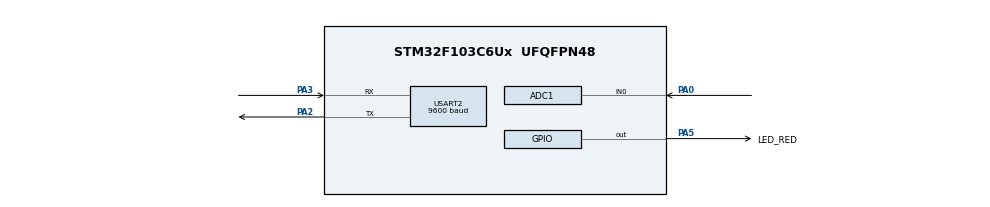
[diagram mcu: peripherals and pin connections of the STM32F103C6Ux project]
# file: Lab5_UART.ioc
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ADC1.Channel-0\#ChannelRegularConversion=ADC_CHANNEL_0
ADC1.ContinuousConvMode=ENABLE
ADC1.NbrOfConversionFlag=1
ADC1.Rank-0\#ChannelRegularConversion=1
ADC1.SamplingTime-0\#ChannelRegularConversion=ADC_SAMPLETIME_1CYCLE_5
ADC1.master=1
Mcu.Family=STM32F1
Mcu.Name=STM32F103C6Ux
Mcu.Package=UFQFPN48
NVIC.PriorityGroup=NVIC_PRIORITYGROUP_4
NVIC.TIM2_IRQn=true\:0\:0\:false\:false\:true\:true\:true\:true
NVIC.USART2_IRQn=true\:0\:0\:false\:false\:true\:true\:true\:true
PA0-WKUP.Signal=ADCx_IN0
PA2.Mode=Asynchronous
PA2.Signal=USART2_TX
PA3.Mode=Asynchronous
PA3.Signal=USART2_RX
PA5.GPIO_Label=LED_RED
PA5.Signal=GPIO_Output
ProjectManager.HeapSize=0x200
ProjectManager.StackSize=0x400
ProjectManager.TargetToolchain=Makefile
RCC.APB1Freq_Value=8000000
RCC.APB2Freq_Value=8000000
SH.ADCx_IN0.0=ADC1_IN0,IN0
TIM2.Period=9
TIM2.Prescaler=7999
USART2.BaudRate=9600
USART2.VirtualMode=VM_ASYNC
VP_SYS_VS_ND.Mode=No_Debug
VP_TIM2_VS_ClockSourceINT.Mode=Internal
board=custom

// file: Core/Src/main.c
/* USER CODE BEGIN Header */
/**
  ******************************************************************************
  * @file           : main.c
  * @brief          : Main program body
  ******************************************************************************
  * @attention
  *
  * Copyright (c) 2026 STMicroelectronics.
  * All rights reserved.
  *
  * This software is licensed under terms that can be found in the LICENSE file
  * in the root directory of this software component.
  * If no LICENSE file comes with this software, it is provided AS-IS.
  *
  ******************************************************************************
  */
/* USER CODE END Header */
#include "main.h"

/* USER CODE BEGIN Includes */
#include "command_parser.h"
#include "uart_communication.h"
#if LAB5_MODE == LAB5_MODE_ADC
#include <stdio.h>
#endif
/* USER CODE END Includes */

ADC_HandleTypeDef hadc1;

TIM_HandleTypeDef htim2;

UART_HandleTypeDef huart2;

/* USER CODE BEGIN PV */
static uint8_t uart_rx_byte;
static volatile uint8_t rx_buffer[MAX_BUFFER_SIZE];
static volatile uint8_t rx_write;
static volatile uint8_t rx_read;
static volatile uint8_t rx_fault;
static uint32_t led_tick;
/* USER CODE END PV */

void SystemClock_Config(void);
static void MX_GPIO_Init(void);
static void MX_TIM2_Init(void);
static void MX_ADC1_Init(void);
static void MX_USART2_UART_Init(void);

/* USER CODE BEGIN 0 */

/* Return -1 after lost data, 0 when empty, or 1 for a received byte. */
static int uart_read_byte(uint8_t *byte)
{
    uint32_t interrupt_state = __get_PRIMASK();
    int result = 0;

    __disable_irq();
    if (rx_fault)
    {
        rx_read = rx_write;
        rx_fault = 0;
        result = -1;
    }
    else if (rx_read != rx_write)
    {
        *byte = rx_buffer[rx_read];
        rx_read = (uint8_t)((rx_read + 1U) % MAX_BUFFER_SIZE);
        result = 1;
    }
    __set_PRIMASK(interrupt_state);
    return result;
}

void HAL_UART_RxCpltCallback(UART_HandleTypeDef *huart)
{
    if (huart->Instance == USART2)
    {
        uint8_t next = (uint8_t)((rx_write + 1U) % MAX_BUFFER_SIZE);

        if (!rx_fault && next != rx_read)
        {
            rx_buffer[rx_write] = uart_rx_byte;
            rx_write = next;
        }
        else
        {
            rx_fault = 1;
        }
        HAL_UART_Receive_IT(huart, &uart_rx_byte, 1);
    }
}

void HAL_UART_ErrorCallback(UART_HandleTypeDef *huart)
{
    if (huart->Instance == USART2)
    {
        rx_fault = 1;
        if (huart->RxState == HAL_UART_STATE_READY)
        {
            __HAL_UART_CLEAR_OREFLAG(huart);
            HAL_UART_Receive_IT(huart, &uart_rx_byte, 1);
        }
    }
}

/* USER CODE END 0 */

int main(void)
{

  /* MCU Configuration--------------------------------------------------------*/

  /* Reset of all peripherals, Initializes the Flash interface and the Systick. */
  HAL_Init();

  /* Configure the system clock */
  SystemClock_Config();

  /* Initialize all configured peripherals */
  MX_GPIO_Init();
  MX_TIM2_Init();
  MX_ADC1_Init();
  MX_USART2_UART_Init();
  /* USER CODE BEGIN 2 */

  command_parser_init();
  uart_communication_init(&hadc1, &huart2);

#if LAB5_MODE != LAB5_MODE_LOOPBACK
#if LAB5_ADC_CALIBRATION
  if (HAL_ADCEx_Calibration_Start(&hadc1) != HAL_OK)
  {
      Error_Handler();
  }
#endif
#if LAB5_MODE == LAB5_MODE_PROTOCOL
  if (HAL_ADC_Start(&hadc1) != HAL_OK)
  {
      Error_Handler();
  }
#endif
#endif

  if (HAL_UART_Receive_IT(&huart2, &uart_rx_byte, 1) != HAL_OK)
  {
      Error_Handler();
  }
  led_tick = HAL_GetTick();

  /* USER CODE END 2 */

  /* Infinite loop */
  while (1)
  {
    /* USER CODE BEGIN 3 */
    uint8_t byte;
    int received;

    while ((received = uart_read_byte(&byte)) != 0)
    {
        if (received < 0)
        {
            command_parser_init();
            continue;
        }
#if LAB5_MODE == LAB5_MODE_LOOPBACK
        HAL_UART_Transmit(&huart2, &byte, 1, 50);
#elif LAB5_MODE == LAB5_MODE_PROTOCOL
        uart_communication_process(command_parser_fsm(byte));
#endif
    }

#if LAB5_MODE == LAB5_MODE_PROTOCOL
    uart_communication_fsm();
#endif

    if ((uint32_t)(HAL_GetTick() - led_tick) >= 500U)
    {
        led_tick = HAL_GetTick();
        HAL_GPIO_TogglePin(LED_RED_GPIO_Port, LED_RED_Pin);
#if LAB5_MODE == LAB5_MODE_ADC
        if (HAL_ADC_Start(&hadc1) == HAL_OK)
        {
            HAL_StatusTypeDef status = HAL_ADC_PollForConversion(&hadc1, 10);
            uint32_t value = 0;

            if (status == HAL_OK)
            {
                value = HAL_ADC_GetValue(&hadc1);
            }
            HAL_ADC_Stop(&hadc1);

            if (status == HAL_OK)
            {
                char text[16];
                int length = snprintf(text, sizeof(text), "%lu\r\n", (unsigned long)value);
                HAL_UART_Transmit(&huart2, (const uint8_t *)text, (uint16_t)length, 100);
            }
        }
#endif
    }
  }
  /* USER CODE END 3 */
}

void SystemClock_Config(void)
{
  RCC_OscInitTypeDef RCC_OscInitStruct = {0};
  RCC_ClkInitTypeDef RCC_ClkInitStruct = {0};
  RCC_PeriphCLKInitTypeDef PeriphClkInit = {0};

  /** Initializes the RCC Oscillators according to the specified parameters
  * in the RCC_OscInitTypeDef structure.
  */
  RCC_OscInitStruct.OscillatorType = RCC_OSCILLATORTYPE_HSI;
  RCC_OscInitStruct.HSIState = RCC_HSI_ON;
  RCC_OscInitStruct.HSICalibrationValue = RCC_HSICALIBRATION_DEFAULT;
  RCC_OscInitStruct.PLL.PLLState = RCC_PLL_NONE;
  if (HAL_RCC_OscConfig(&RCC_OscInitStruct) != HAL_OK)
  {
    Error_Handler();
  }

  /** Initializes the CPU, AHB and APB buses clocks
  */
  RCC_ClkInitStruct.ClockType = RCC_CLOCKTYPE_HCLK|RCC_CLOCKTYPE_SYSCLK
                              |RCC_CLOCKTYPE_PCLK1|RCC_CLOCKTYPE_PCLK2;
  RCC_ClkInitStruct.SYSCLKSource = RCC_SYSCLKSOURCE_HSI;
  RCC_ClkInitStruct.AHBCLKDivider = RCC_SYSCLK_DIV1;
  RCC_ClkInitStruct.APB1CLKDivider = RCC_HCLK_DIV1;
  RCC_ClkInitStruct.APB2CLKDivider = RCC_HCLK_DIV1;

  if (HAL_RCC_ClockConfig(&RCC_ClkInitStruct, FLASH_LATENCY_0) != HAL_OK)
  {
    Error_Handler();
  }
  PeriphClkInit.PeriphClockSelection = RCC_PERIPHCLK_ADC;
  PeriphClkInit.AdcClockSelection = RCC_ADCPCLK2_DIV2;
  if (HAL_RCCEx_PeriphCLKConfig(&PeriphClkInit) != HAL_OK)
  {
    Error_Handler();
  }
}

static void MX_ADC1_Init(void)
{

  ADC_ChannelConfTypeDef sConfig = {0};

  /** Common config
  */
  hadc1.Instance = ADC1;
  hadc1.Init.ScanConvMode = ADC_SCAN_DISABLE;
  hadc1.Init.ContinuousConvMode = ENABLE;
  hadc1.Init.DiscontinuousConvMode = DISABLE;
  hadc1.Init.ExternalTrigConv = ADC_SOFTWARE_START;
  hadc1.Init.DataAlign = ADC_DATAALIGN_RIGHT;
  hadc1.Init.NbrOfConversion = 1;
  if (HAL_ADC_Init(&hadc1) != HAL_OK)
  {
    Error_Handler();
  }

  /** Configure Regular Channel
  */
  sConfig.Channel = ADC_CHANNEL_0;
  sConfig.Rank = ADC_REGULAR_RANK_1;
  sConfig.SamplingTime = ADC_SAMPLETIME_1CYCLE_5;
  if (HAL_ADC_ConfigChannel(&hadc1, &sConfig) != HAL_OK)
  {
    Error_Handler();
  }

}

static void MX_TIM2_Init(void)
{

  TIM_ClockConfigTypeDef sClockSourceConfig = {0};
  TIM_MasterConfigTypeDef sMasterConfig = {0};

  htim2.Instance = TIM2;
  htim2.Init.Prescaler = 7999;
  htim2.Init.CounterMode = TIM_COUNTERMODE_UP;
  htim2.Init.Period = 9;
  htim2.Init.ClockDivision = TIM_CLOCKDIVISION_DIV1;
  htim2.Init.AutoReloadPreload = TIM_AUTORELOAD_PRELOAD_DISABLE;
  if (HAL_TIM_Base_Init(&htim2) != HAL_OK)
  {
    Error_Handler();
  }
  sClockSourceConfig.ClockSource = TIM_CLOCKSOURCE_INTERNAL;
  if (HAL_TIM_ConfigClockSource(&htim2, &sClockSourceConfig) != HAL_OK)
  {
    Error_Handler();
  }
  sMasterConfig.MasterOutputTrigger = TIM_TRGO_RESET;
  sMasterConfig.MasterSlaveMode = TIM_MASTERSLAVEMODE_DISABLE;
  if (HAL_TIMEx_MasterConfigSynchronization(&htim2, &sMasterConfig) != HAL_OK)
  {
    Error_Handler();
  }

}

static void MX_USART2_UART_Init(void)
{

  huart2.Instance = USART2;
  huart2.Init.BaudRate = 9600;
  huart2.Init.WordLength = UART_WORDLENGTH_8B;
  huart2.Init.StopBits = UART_STOPBITS_1;
  huart2.Init.Parity = UART_PARITY_NONE;
  huart2.Init.Mode = UART_MODE_TX_RX;
  huart2.Init.HwFlowCtl = UART_HWCONTROL_NONE;
  huart2.Init.OverSampling = UART_OVERSAMPLING_16;
  if (HAL_UART_Init(&huart2) != HAL_OK)
  {
    Error_Handler();
  }

}

static void MX_GPIO_Init(void)
{
  GPIO_InitTypeDef GPIO_InitStruct = {0};

  /* GPIO Ports Clock Enable */
  __HAL_RCC_GPIOA_CLK_ENABLE();

  /*Configure GPIO pin Output Level */
  HAL_GPIO_WritePin(LED_RED_GPIO_Port, LED_RED_Pin, GPIO_PIN_RESET);

  /*Configure GPIO pin : LED_RED_Pin */
  GPIO_InitStruct.Pin = LED_RED_Pin;
  GPIO_InitStruct.Mode = GPIO_MODE_OUTPUT_PP;
  GPIO_InitStruct.Pull = GPIO_NOPULL;
  GPIO_InitStruct.Speed = GPIO_SPEED_FREQ_LOW;
  HAL_GPIO_Init(LED_RED_GPIO_Port, &GPIO_InitStruct);

}

void Error_Handler(void)
{
  __disable_irq();
  while (1)
  {
  }
}
